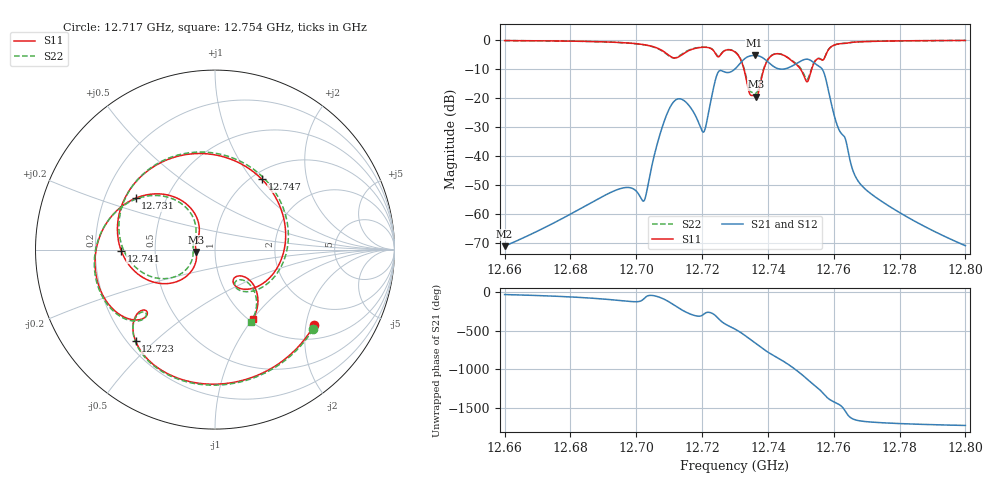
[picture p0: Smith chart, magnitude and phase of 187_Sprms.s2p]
! TOUCHSTONE file generated by CST MICROWAVE STUDIO
! Date and time: Wed Jul 31 20:21:40 2024
! Project name: WaveGuide_BPF-Ver4.1_U-shape_Ku_T3_C4_CWA_2.cst
! Parameters = {cavity_h=16; cavity_l0=10; cavity_l1=15.2079; cavity_l2=16.8297; cavity_l3=17.1163; cavity_l4=17.2397; cavity_l5=17.0871; cavity_l6=17.5545; cavity_r=2.5; cavity_screw_l=0.5; cavity_screw_r=1.5; cavity_w=8; iris_h00=0; iris_h01=8.8339; iris_h112=0; iris_h12=5.6127; iris_h211=3.6535; 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
! Header version: 2018
! Port assignment regex: !\s*Touchstone port\s*([0-9]+)\s*=\s*(CST MWS port|CST DS port)\s*([0-9]+|Zmin|Zmax)\s*\(\"(.*)\"\)(\s*mode\s*([0-9]+))?.*
! Touchstone port assignment:
! Touchstone port 1 = CST MWS port 1 ("")
! Touchstone port 2 = CST MWS port 2 ("")
# GHz S RI R 50
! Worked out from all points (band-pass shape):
!   5001 points, 12.66 GHz to 12.8 GHz, reference 50 ohm
!   highest |S21| = -5.34 dB at 12.736 GHz (marker M1); lowest = -71.1 dB at 12.66 GHz (marker M2)
!   |S21| within 3 dB of the highest: 12.73135 GHz to 12.74078 GHz (9.43 MHz wide, 0.074 % of centre); 12.74836 GHz to 12.75457 GHz (6.208 MHz wide, 0.0487 % of centre)
!   lowest |S11| = -19.6 dB at 12.736 GHz (marker M3), VSWR 1.24, Z = 40.5 - j1.13 ohm
!   |S11| at or under -10 dB: 12.7327 GHz to 12.73878 GHz (6.077 MHz wide, 0.0477 % of centre); 12.74987 GHz to 12.75331 GHz (3.443 MHz wide, 0.027 % of centre)
!   |S22| runs from -18.3 to -0.2 dB; largest |S21 - S12| = 1e-09
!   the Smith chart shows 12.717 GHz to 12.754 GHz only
!   S11 on the Smith chart (normalised r, x): 12.717 GHz: 1.37, -2.23; 12.723 GHz: 0.23, -0.44; 12.731 GHz: 0.33, +0.26; 12.741 GHz: 0.31, -0.01; 12.747 GHz: 1.11, +1.12; 12.754 GHz: 1.05, -1.00
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12.66  0.4223 0.882  0.000242 -0.000137  0.000242 -0.000137  0.4179 0.8841
12.68335  0.846 0.4319  0.000473 -0.00117  0.000473 -0.00117  0.8442 0.4352
12.70225  0.41 -0.7244  9.87e-05 -0.00167  9.87e-05 -0.00167  0.3995 -0.7266
12.70668  -0.2904 -0.6524  0.0096 -0.016  0.0096 -0.016  -0.3143 -0.6301
12.70948  -0.5669 -0.0502  -0.0213 -0.0513  -0.0213 -0.0513  -0.5558 0.00603
12.71205  -0.055 0.4875  -0.0931 0.00179  -0.0931 0.00179  0.0101 0.4971
12.71704  0.552 -0.4212  0.0229 0.0573  0.0229 0.0573  0.5462 -0.4444
12.72048  -0.0171 -0.7499  0.00689 0.025  0.00689 0.025  -0.0204 -0.7551
12.72325  -0.4417 -0.5113  0.0162 0.1295  0.0162 0.1295  -0.4406 -0.5207
12.73  -0.6028 0.1502  -0.1454 -0.2817  -0.1454 -0.2817  -0.6136 0.1341
12.73115  -0.4427 0.2861  -0.3047 -0.2124  -0.3047 -0.2124  -0.462 0.2723
12.73594  -0.1081 0.00853  0.2014 0.5022  0.2014 0.5022  -0.122 0.0114
12.73641  -0.1043 -0.0138  0.3228 0.4327  0.3228 0.4327  -0.1214 -0.0123
12.74084  -0.5227 -0.00606  0.0827 -0.3717  0.0827 -0.3717  -0.5256 0.0455
12.74658  0.2614 0.3916  -0.2366 0.2426  -0.2366 0.2426  0.3001 0.3679
12.75066  0.144 -0.218  0.4514 0.0116  0.4514 0.0116  0.1502 -0.2313
12.75335  0.2288 -0.2253  -0.0598 -0.4276  -0.0598 -0.4276  0.2247 -0.2487
12.75444  0.2126 -0.3844  -0.2797 -0.2686  -0.2797 -0.2686  0.2012 -0.401
12.75708  0.0988 -0.4655  -0.1197 0.2393  -0.1197 0.2393  0.091 -0.4728
12.76671  -0.7295 -0.5651  -0.00354 0.00243  -0.00354 0.00243  -0.7311 -0.5643
12.77668  -0.9447 -0.1739  -0.000371 0.00133  -0.000371 0.00133  -0.9447 -0.1751
12.8  -0.9311 0.3129  7.39e-05 0.000274  7.39e-05 0.000274  -0.932 0.3103
